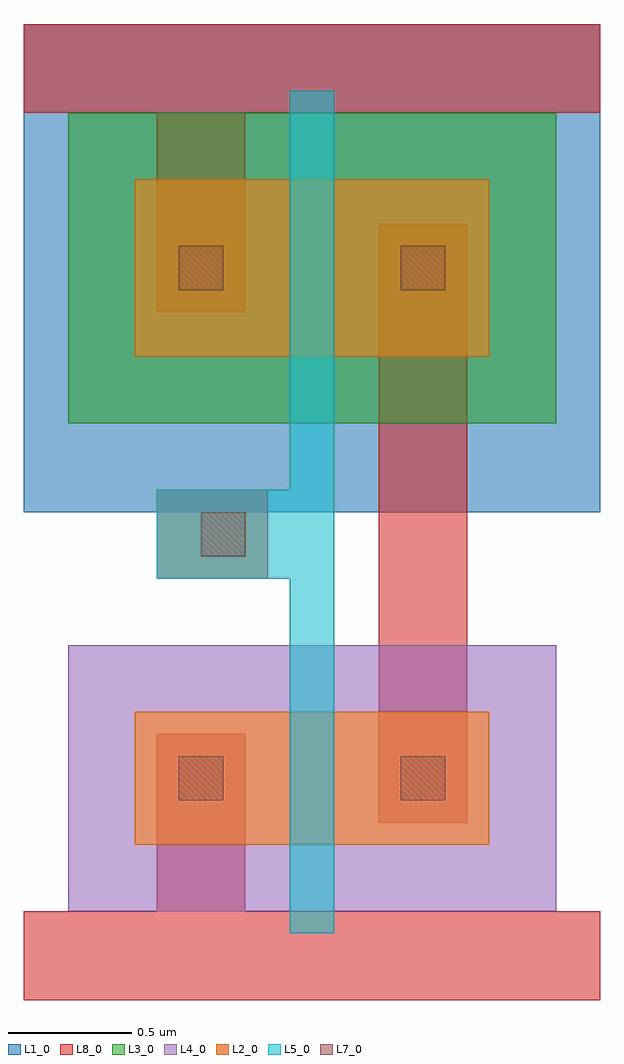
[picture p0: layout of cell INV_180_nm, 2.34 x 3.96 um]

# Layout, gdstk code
import gdstk
lib = gdstk.Library(unit=1e-6, precision=1e-12)
def R(c, l, rs):  # rectangles x0, y0, x1, y1
    for r in rs: c.add(gdstk.rectangle(r[:2], r[2:], *l))
L1_0 = (1, 0)
L2_0 = (2, 0)
L3_0 = (3, 0)
L4_0 = (4, 0)
L5_0 = (5, 0)
L7_0 = (7, 0)
L8_0 = (8, 0)

inv_180_nm = lib.new_cell('INV_180_nm')
R(inv_180_nm, L1_0, [(0,1.98,2.34,3.96)])
R(inv_180_nm, L2_0, [(0.45,0.63,1.89,1.17), (0.45,2.61,1.89,3.33)])
R(inv_180_nm, L3_0, [(0.18,2.34,2.16,3.6)])
R(inv_180_nm, L4_0, [(0.18,0.36,2.16,1.44)])
R(inv_180_nm, L5_0, [(1.08,0.27,1.26,3.69), (0.54,1.71,1.26,2.07)])
R(inv_180_nm, L7_0, [(0.63,0.81,0.81,0.99), (1.53,0.81,1.71,0.99), (0.72,1.8,0.9,1.98), (0.63,2.88,0.81,3.06), (1.53,2.88,1.71,3.06)])
R(inv_180_nm, L8_0, [(0,0,2.34,0.36), (0.54,0,0.9,1.08), (1.44,0.72,1.8,3.15), (0.54,1.71,0.99,2.07), (0.54,2.79,0.9,3.96), (0,3.6,2.34,3.96)])

lib.write_gds('INV_180_nm.gds')
